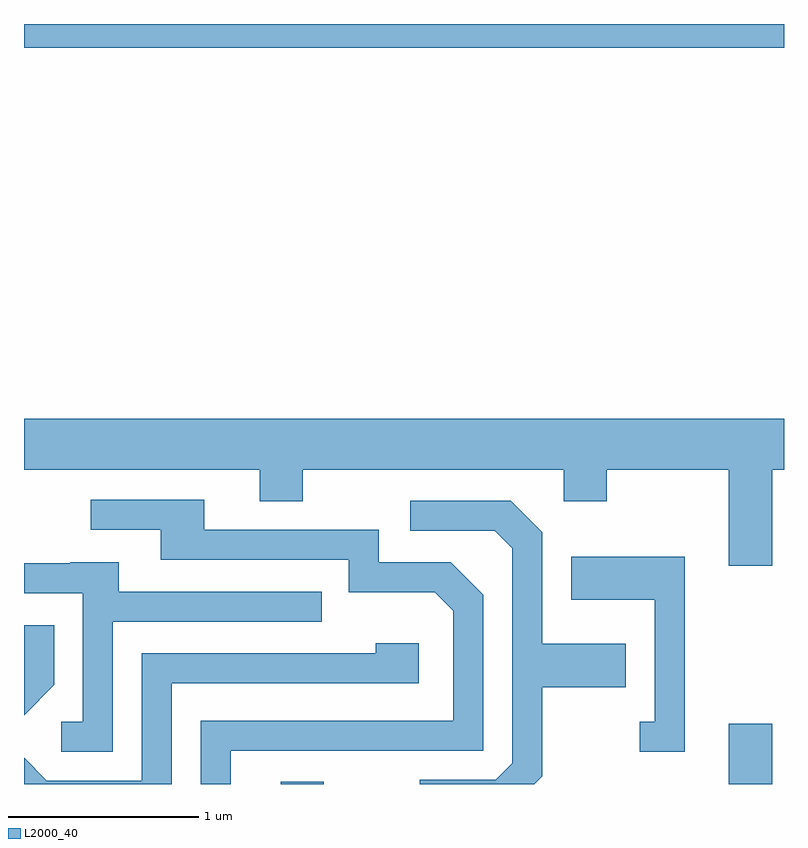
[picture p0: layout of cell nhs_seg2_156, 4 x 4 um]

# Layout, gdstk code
import gdstk
lib = gdstk.Library(unit=1e-6, precision=1e-09)
def R(c, l, rs):  # rectangles x0, y0, x1, y1
    for r in rs: c.add(gdstk.rectangle(r[:2], r[2:], *l))
def P(c, l, *ps):  # polygons
    for p in ps: c.add(gdstk.Polygon(p, *l))
L2000_40 = (2000, 40)

nhs_seg2_156 = lib.new_cell('nhs_seg2_156')
R(nhs_seg2_156, L2000_40, [(190.961,1017.802,191.189,1017.814), (193.321,1017.802,193.549,1018.119), (189.611,1021.676,193.611,1021.802)])
P(nhs_seg2_156, L2000_40, [(193.549,1019.456),(193.611,1019.456),(193.611,1019.724),(189.611,1019.724),(189.611,1019.456),(190.851,1019.456),(190.851,1019.291),(191.079,1019.291),(191.079,1019.456),(192.451,1019.456),(192.451,1019.291),(192.679,1019.291),(192.679,1019.456),(193.321,1019.456),(193.321,1018.951),(193.549,1018.951)],
  [(190.699,1017.976),(192.029,1017.976),(192.029,1018.797),(191.857,1018.969),(191.479,1018.969),(191.479,1019.139),(190.559,1019.139),(190.559,1019.299),(189.963,1019.299),(189.963,1019.141),(190.331,1019.141),(190.331,1018.981),(191.321,1018.981),(191.321,1018.811),(191.774,1018.811),(191.871,1018.714),(191.871,1018.134),(190.541,1018.134),(190.541,1017.802),(190.699,1017.802)],
  [(192.339,1017.844),(192.339,1018.311),(192.779,1018.311),(192.779,1018.539),(192.339,1018.539),(192.339,1019.127),(192.172,1019.294),(191.643,1019.294),(191.643,1019.136),(192.089,1019.136),(192.181,1019.044),(192.181,1017.912),(192.094,1017.824),(191.693,1017.824),(191.693,1017.802),(192.297,1017.802)],
  [(193.089,1018.999),(192.491,1018.999),(192.491,1018.771),(192.931,1018.771),(192.931,1018.129),(192.853,1018.129),(192.853,1017.971),(193.089,1017.971)],
  [(190.079,1018.656),(191.178,1018.656),(191.178,1018.814),(190.109,1018.814),(190.109,1018.969),(189.855,1018.969),(189.855,1018.964),(189.611,1018.964),(189.611,1018.806),(189.921,1018.806),(189.921,1018.129),(189.808,1018.129),(189.808,1017.971),(190.079,1017.971)],
  [(189.769,1018.324),(189.769,1018.638),(189.611,1018.638),(189.611,1018.165)],
  [(190.389,1018.331),(191.689,1018.331),(191.689,1018.544),(191.461,1018.544),(191.461,1018.489),(190.231,1018.489),(190.231,1017.819),(189.732,1017.819),(189.611,1017.94),(189.611,1017.802),(190.389,1017.802)])

lib.write_gds('nhs_seg2_156.gds')
